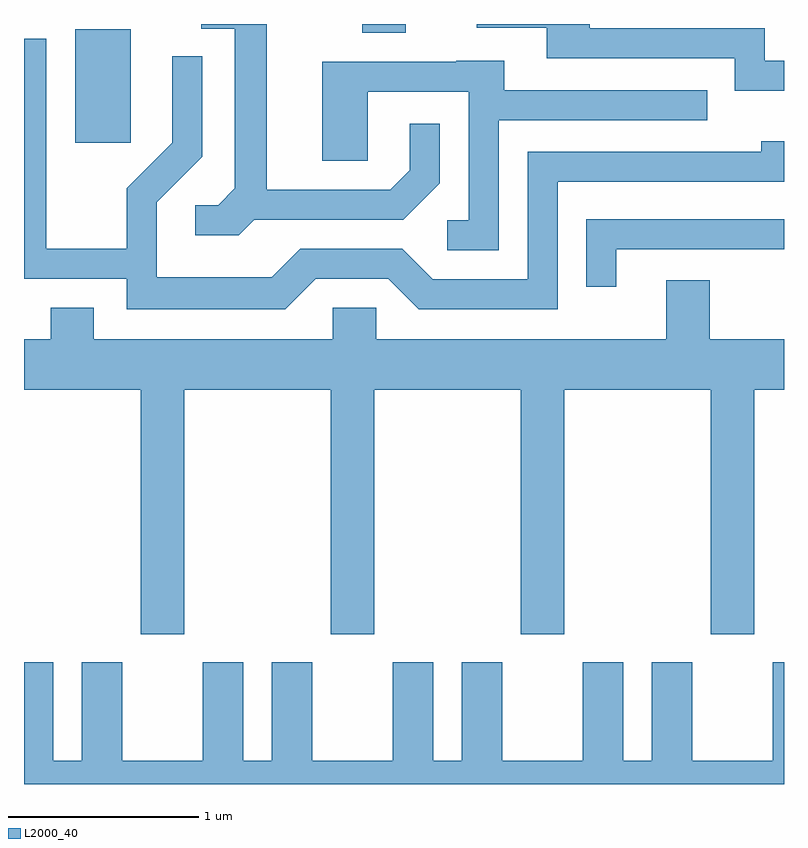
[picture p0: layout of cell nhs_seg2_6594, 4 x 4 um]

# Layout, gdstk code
import gdstk
lib = gdstk.Library(unit=1e-6, precision=1e-09)
def R(c, l, rs):  # rectangles x0, y0, x1, y1
    for r in rs: c.add(gdstk.rectangle(r[:2], r[2:], *l))
def P(c, l, *ps):  # polygons
    for p in ps: c.add(gdstk.Polygon(p, *l))
L2000_40 = (2000, 40)

nhs_seg2_6594 = lib.new_cell('nhs_seg2_6594')
R(nhs_seg2_6594, L2000_40, [(379.881,1045.176,380.174,1045.774), (381.391,1045.756,381.619,1045.802)])
P(nhs_seg2_6594, L2000_40, [(383.611,1045.609),(383.509,1045.609),(383.509,1045.779),(382.589,1045.779),(382.589,1045.802),(381.993,1045.802),(381.993,1045.781),(382.361,1045.781),(382.361,1045.621),(383.351,1045.621),(383.351,1045.451),(383.611,1045.451)],
  [(380.822,1044.771),(381.607,1044.771),(381.799,1044.964),(381.799,1045.277),(381.641,1045.277),(381.641,1045.032),(381.539,1044.929),(380.889,1044.929),(380.889,1045.802),(380.543,1045.802),(380.543,1045.776),(380.721,1045.776),(380.721,1044.937),(380.634,1044.849),(380.513,1044.849),(380.513,1044.691),(380.742,1044.691)],
  [(381.147,1044.461),(381.529,1044.461),(381.689,1044.301),(382.419,1044.301),(382.419,1044.971),(383.611,1044.971),(383.611,1045.184),(383.491,1045.184),(383.491,1045.129),(382.261,1045.129),(382.261,1044.459),(381.762,1044.459),(381.602,1044.619),(381.064,1044.619),(380.914,1044.469),(380.309,1044.469),(380.309,1044.863),(380.549,1045.103),(380.549,1045.632),(380.391,1045.632),(380.391,1045.177),(380.151,1044.937),(380.151,1044.619),(379.729,1044.619),(379.729,1045.724),(379.611,1045.724),(379.611,1044.461),(380.151,1044.461),(380.151,1044.301),(380.987,1044.301)],
  [(382.109,1045.296),(383.208,1045.296),(383.208,1045.454),(382.139,1045.454),(382.139,1045.609),(381.885,1045.609),(381.885,1045.604),(381.181,1045.604),(381.181,1045.081),(381.419,1045.081),(381.419,1045.446),(381.951,1045.446),(381.951,1044.769),(381.838,1044.769),(381.838,1044.611),(382.109,1044.611)],
  [(382.729,1044.616),(383.611,1044.616),(383.611,1044.774),(382.571,1044.774),(382.571,1044.418),(382.729,1044.418)],
  [(380.454,1043.876),(381.226,1043.876),(381.226,1042.591),(381.454,1042.591),(381.454,1043.876),(382.226,1043.876),(382.226,1042.591),(382.454,1042.591),(382.454,1043.876),(383.226,1043.876),(383.226,1042.591),(383.454,1042.591),(383.454,1043.876),(383.611,1043.876),(383.611,1044.144),(383.219,1044.144),(383.219,1044.454),(382.991,1044.454),(382.991,1044.144),(381.464,1044.144),(381.464,1044.309),(381.236,1044.309),(381.236,1044.144),(379.979,1044.144),(379.979,1044.309),(379.751,1044.309),(379.751,1044.144),(379.611,1044.144),(379.611,1043.876),(380.226,1043.876),(380.226,1042.591),(380.454,1042.591)],
  [(383.611,1042.444),(383.551,1042.444),(383.551,1041.924),(383.129,1041.924),(383.129,1042.444),(382.916,1042.444),(382.916,1041.924),(382.764,1041.924),(382.764,1042.444),(382.551,1042.444),(382.551,1041.924),(382.129,1041.924),(382.129,1042.444),(381.916,1042.444),(381.916,1041.924),(381.764,1041.924),(381.764,1042.444),(381.551,1042.444),(381.551,1041.924),(381.129,1041.924),(381.129,1042.444),(380.916,1042.444),(380.916,1041.924),(380.764,1041.924),(380.764,1042.444),(380.551,1042.444),(380.551,1041.924),(380.129,1041.924),(380.129,1042.444),(379.916,1042.444),(379.916,1041.924),(379.764,1041.924),(379.764,1042.444),(379.611,1042.444),(379.611,1041.802),(383.611,1041.802)])

lib.write_gds('nhs_seg2_6594.gds')
